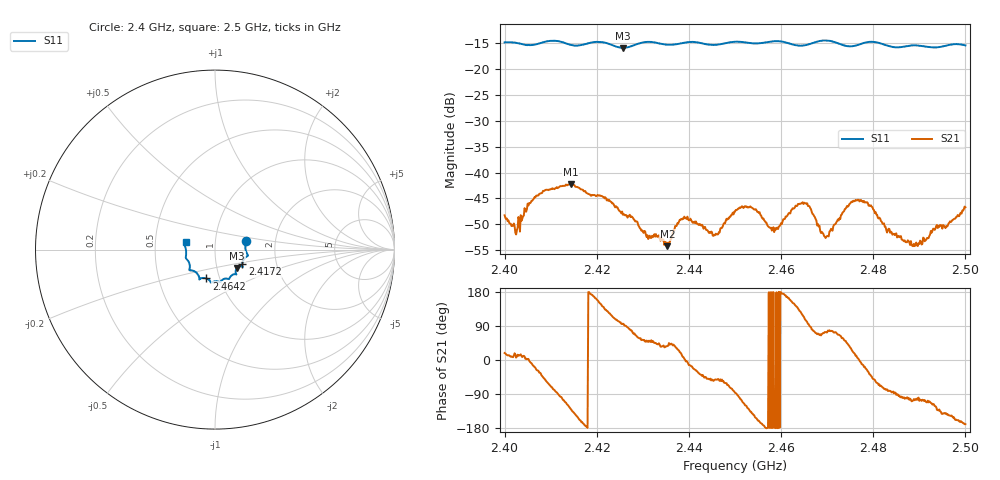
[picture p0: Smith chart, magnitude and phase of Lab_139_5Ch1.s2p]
# Hz S RI R 50
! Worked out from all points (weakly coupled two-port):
!   601 points, 2.4 GHz to 2.5 GHz, reference 50 ohm
!   highest |S21| = -42.26 dB at 2.4143 GHz (marker M1); lowest = -54.2 dB at 2.4353 GHz (marker M2)
!   lowest |S11| = -15.9 dB at 2.4257 GHz (marker M3), VSWR 1.38, Z = 62.4 - j13.1 ohm
!   |S11| at or under -10 dB: start of sweep to end of sweep
!   S12 and S22 are empty: the file has one direction only
!   S11 on the Smith chart (normalised r, x): 2.4 GHz: 1.41, +0.14; 2.4172 GHz: 1.34, -0.22; 2.4642 GHz: 0.86, -0.29; 2.5 GHz: 0.72, +0.06
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2.4e9  0.1736 0.049  0.00367 0.00123  0 0  0 0
2.402833e9  0.1739 0.0363  0.00285 0.000711  0 0  0 0
2.407e9  0.1732 -0.0108  0.00536 -0.00272  0 0  0 0
2.414333e9  0.1633 -0.0499  -0.00487 -0.00598  0 0  0 0
2.416667e9  0.1526 -0.0752  -0.00662 -0.00187  0 0  0 0
2.417167e9  0.152 -0.0809  -0.00648 -0.0013  0 0  0 0
2.425667e9  0.1224 -0.1024  -0.000402 0.00389  0 0  0 0
2.433333e9  0.1128 -0.1365  0.00183 0.00161  0 0  0 0
2.435333e9  0.099 -0.1398  0.00155 0.00118  0 0  0 0
2.4385e9  0.0815 -0.1574  0.00345 0.000728  0 0  0 0
2.445667e9  0.0499 -0.1632  0.00154 -0.00195  0 0  0 0
2.45e9  0.0295 -0.1806  0.000272 -0.00418  0 0  0 0
2.453667e9  0.013 -0.1764  -0.00355 -0.00289  0 0  0 0
2.4585e9  -0.0205 -0.1842  -0.00266 -5.95e-05  0 0  0 0
2.464167e9  -0.0481 -0.1608  -0.00308 0.00391  0 0  0 0
2.466667e9  -0.0762 -0.1594  0.000698 0.00409  0 0  0 0
2.469833e9  -0.0874 -0.1666  0.000701 0.0023  0 0  0 0
2.474833e9  -0.1048 -0.1279  0.00401 0.00296  0 0  0 0
2.477167e9  -0.1285 -0.1166  0.00535 -0.000424  0 0  0 0
2.483333e9  -0.1405 -0.0894  0.000468 -0.00283  0 0  0 0
2.4895e9  -0.1628 -0.044  -0.000517 -0.00191  0 0  0 0
2.5e9  -0.1637 0.0416  -0.00454 -0.000851  0 0  0 0
